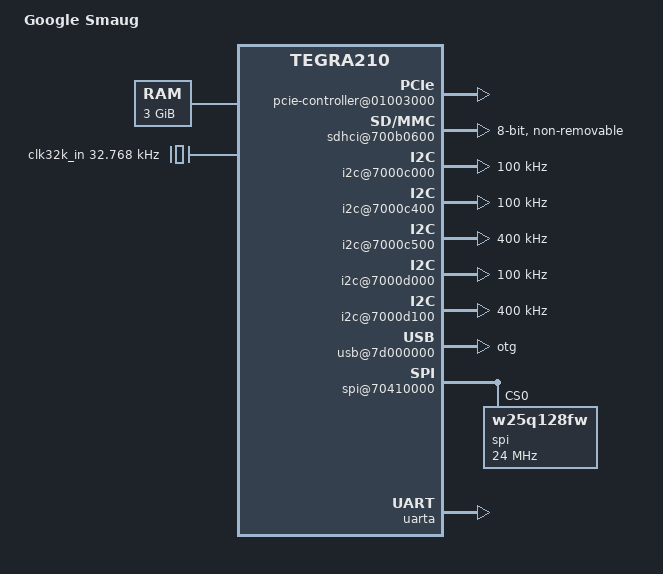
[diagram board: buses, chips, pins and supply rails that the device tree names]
/dts-v1/;

#include "tegra210.dtsi"

/ {
	model = "Google Smaug";
	compatible = "google,smaug", "nvidia,tegra210";

	chosen {
		stdout-path = &uarta;
	};

	aliases {
		i2c1 = "/i2c@7000c000"; /* i2c-hid-dev@20 */
		i2c2 = "/i2c@7000c400"; /* ec@1e */
		i2c3 = "/i2c@7000c500"; /* tpm@20 */
		i2c5 = "/i2c@7000d000"; /* max77620@3c max77621@1b max77621@1c */
		i2c6 = "/i2c@7000d100"; /* jdi-lpm102a188a@2c audio-codec@2d temperature-sensor@4c */
		mmc0 = "/sdhci@700b0600"; /* emmc */
		usb0 = "/usb@7d000000";
		spi0 = "/spi@70410000"; /* SPI flsh */
	};

	memory {
		reg = <0x0 0x80000000 0x0 0xc0000000>;
	};

	pcie-controller@01003000 {
		status = "okay";

		pci@1,0 {
			status = "okay";
		};

		pci@2,0 {
			status = "okay";
		};
	};

	padctl@7009f000 {
		pinctrl-0 = <&padctl_default>;
		pinctrl-names = "default";

		padctl_default: pinmux {
			xusb {
				nvidia,lanes = "otg-1", "otg-2";
				nvidia,function = "xusb";
				nvidia,iddq = <0>;
			};

			usb3 {
				nvidia,lanes = "pcie-5", "pcie-6";
				nvidia,function = "usb3";
				nvidia,iddq = <0>;
			};

			pcie-x1 {
				nvidia,lanes = "pcie-0";
				nvidia,function = "pcie-x1";
				nvidia,iddq = <0>;
			};

			pcie-x4 {
				nvidia,lanes = "pcie-1", "pcie-2",
					       "pcie-3", "pcie-4";
				nvidia,function = "pcie-x4";
				nvidia,iddq = <0>;
			};

			sata {
				nvidia,lanes = "sata-0";
				nvidia,function = "sata";
				nvidia,iddq = <0>;
			};
		};
	};

	sdhci@700b0600 {
		status = "okay";
		bus-width = <8>;
		non-removable;
	};

	i2c@7000c000 {
		status = "okay";
		clock-frequency = <100000>;
	};

	i2c@7000c400 {
		status = "okay";
		clock-frequency = <100000>;
	};

	i2c@7000c500 {
		status = "okay";
		clock-frequency = <400000>;
	};

	i2c@7000d000 {
		status = "okay";
		clock-frequency = <100000>;
	};

	i2c@7000d100 {
		status = "okay";
		clock-frequency = <400000>;
	};

	usb@7d000000 {
		status = "okay";
		dr_mode = "otg";
		nvidia,vbus-gpio = <&gpio TEGRA_GPIO(CC, 4) GPIO_ACTIVE_HIGH>;
	};

	spi@70410000 {
		status = "okay";
		spi-max-frequency = <24000000>;
		spi@0 {
			compatible = "w25q128fw";
			reg = <0>;
			spi-max-frequency = <24000000>;

			controller-data {
				nvidia,x1-len-limit = <16>;
				nvidia,x1-bus-speed = <24000000>;
				nvidia,x1-dummy-cycle = <0>;
				nvidia,x4-bus-speed = <24000000>;
				nvidia,x4-dummy-cycle = <8>;
			};
		};
	};

	clocks {
		compatible = "simple-bus";
		#address-cells = <1>;
		#size-cells = <0>;

		clk32k_in: clock@0 {
			compatible = "fixed-clock";
			reg = <0>;
			#clock-cells = <0>;
			clock-frequency = <32768>;
		};
	};
};

&uarta {
	status = "okay";
};
